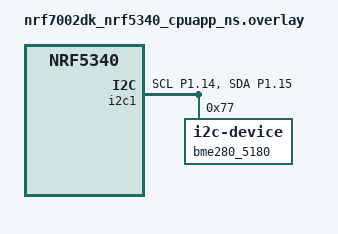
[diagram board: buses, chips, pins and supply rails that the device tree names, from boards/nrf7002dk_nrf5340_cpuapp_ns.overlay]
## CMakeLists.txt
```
# SPDX-License-Identifier: Apache-2.0

cmake_minimum_required(VERSION 3.20.0)
find_package(Zephyr REQUIRED HINTS $ENV{ZEPHYR_BASE})
project(blinky)

target_sources(app PRIVATE src/main.c)

if(CONFIG_SUM_PRINT)
  target_sources(app PRIVATE sum_printk/sum_printk.c)
  target_include_directories(app PRIVATE sum_printk)
elseif(CONFIG_SUM_LOG)
  target_sources(app PRIVATE sum_log/sum_log.c)
  target_include_directories(app PRIVATE sum_log)
endif()

# Add the bme280_raw source file and include directory
target_sources(app PRIVATE
  bme280_raw/bme280_raw.c
  bme280_raw/bme280_math.c
)

target_include_directories(app PRIVATE
  bme280_raw
)
```

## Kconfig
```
mainmenu "ESE5180 Lab 0"

choice
	prompt "Sum output implementation"
	default SUM_PRINT

config SUM_PRINT
	bool "Display the sum with printk"

config SUM_LOG
	bool "Display the sum with the Logger"

endchoice

source "Kconfig.zephyr"
```

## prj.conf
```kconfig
CONFIG_GPIO=y
CONFIG_CONSOLE=y
CONFIG_SERIAL=y
CONFIG_UART_CONSOLE=y
CONFIG_PRINTK=y

CONFIG_LOG=y
CONFIG_LOG_DEFAULT_LEVEL=3

# CONFIG_LOG_MODE
CONFIG_SUM_PRINT=y

# Sensor framework and I2C controller
CONFIG_SENSOR=y
CONFIG_I2C=y

# TF-M uses UART1 during secure boot, then releases the shared
# Serial1 peripheral so the non-secure application can use TWIM1.
CONFIG_TFM_SECURE_UART_SHARE_INSTANCE=y
```

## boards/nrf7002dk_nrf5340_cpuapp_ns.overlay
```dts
/ {
	aliases {
		led5180 = &led1;
		button5180 = &button0;
	};
};

#include <zephyr/dt-bindings/pinctrl/nrf-pinctrl.h>
&i2c1 {
	status = "okay";

	pinctrl-0 = <&bme280_i2c1_default>;
	pinctrl-1 = <&bme280_i2c1_sleep>;
	pinctrl-names = "default", "sleep";

	bme280_5180: bme280@77 {
		compatible = "i2c-device";
		reg = <0x77>;
		status = "okay";
	};
};

&pinctrl {
	bme280_i2c1_default: bme280_i2c1_default {
		group1 {
			psels = <NRF_PSEL(TWIM_SCL, 1, 14)>,
				<NRF_PSEL(TWIM_SDA, 1, 15)>;
		};
	};

	bme280_i2c1_sleep: bme280_i2c1_sleep {
		group1 {
			psels = <NRF_PSEL(TWIM_SCL, 1, 14)>,
				<NRF_PSEL(TWIM_SDA, 1, 15)>;
			low-power-enable;
		};
	};
};
```

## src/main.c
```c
/*
 * Copyright (c) 2016 Intel Corporation
 *
 * SPDX-License-Identifier: Apache-2.0
 */

#include <stdbool.h>
#include <stdio.h>
#include <zephyr/kernel.h>
#include <zephyr/drivers/gpio.h>

#include <stdint.h>
#include <zephyr/logging/log.h>
#include "bme280_raw.h"

#if defined(CONFIG_SUM_PRINT)
#include "sum_printk.h"
#elif defined(CONFIG_SUM_LOG)
#include "sum_log.h"
#endif

LOG_MODULE_REGISTER(blinky_app, LOG_LEVEL_INF);

#define TEMPERATURE_INTERVAL_MS 2000

#define POLL_INTERVAL_MS 20

/* Custom LED alias from the application overlay. */
#define LED5180_NODE DT_ALIAS(led5180)

/* Default board alias for Button 1 / SW1. */
#define BUTTON_NODE DT_ALIAS(button5180)

static const struct gpio_dt_spec led =
	GPIO_DT_SPEC_GET(LED5180_NODE, gpios);

static const struct gpio_dt_spec button =
	GPIO_DT_SPEC_GET(BUTTON_NODE, gpios);

int main(void)
{
	const int input_a = 7;
	const int input_b = -2;
	int ret;
	int sum_result;
	bool led_state = false;
	bool previous_pressed = false;

#if defined(CONFIG_SUM_PRINT)
	sum_result = sum_printk(input_a, input_b);
#elif defined(CONFIG_SUM_LOG)
	sum_result = sum_log(input_a, input_b);
#endif

	// Initialize the BME280 sensor
	int64_t next_temperature_ms = 0;
	
	if (sum_result != 5) {
		return 0;
	}

	if (!gpio_is_ready_dt(&led) ||
	    !gpio_is_ready_dt(&button)) {
		return 0;
	}

	ret = gpio_pin_configure_dt(&led, GPIO_OUTPUT_INACTIVE);
	if (ret < 0) {
		return 0;
	}

	ret = gpio_pin_configure_dt(&button, GPIO_INPUT);
	if (ret < 0) {
		return 0;
	}

	// Initialize the BME280 sensor
	ret = bme280_raw_init();
	if (ret < 0) {
		LOG_ERR("BME280 initialization failed: %d", ret);
		return 0;
	}

	while (1) {
		int pressed = gpio_pin_get_dt(&button);

		if (pressed < 0) {
			return 0;
		}

		/* Toggle the LED only once for each button press. */
		if (pressed && !previous_pressed) {
			ret = gpio_pin_toggle_dt(&led);
			if (ret < 0) {
				return 0;
			}

			led_state = !led_state;
			printf("LED state: %s\n",
			       led_state ? "ON" : "OFF");
		}

		previous_pressed = pressed;

		// Read and log the temperature from the BME280 sensor every TEMPERATURE_INTERVAL_MS milliseconds
		int64_t now = k_uptime_get();
		if (now >= next_temperature_ms) {
			int32_t temperature;
			int32_t magnitude;

			ret = bme280_raw_read_temperature(&temperature);
			if (ret < 0) {
				LOG_ERR("Temperature read failed: %d", ret);
			} else {
				magnitude = temperature < 0
						? -temperature
						: temperature;

				LOG_INF("Temperature: %s%d.%02d C",
					temperature < 0 ? "-" : "",
					magnitude / 100,
					magnitude % 100);
			}

			next_temperature_ms = now + TEMPERATURE_INTERVAL_MS;
		}

		k_msleep(POLL_INTERVAL_MS);
	}

	return 0;
}
```
